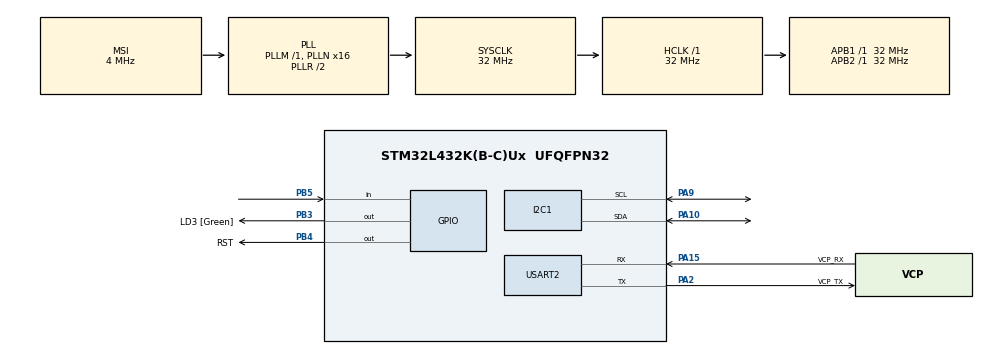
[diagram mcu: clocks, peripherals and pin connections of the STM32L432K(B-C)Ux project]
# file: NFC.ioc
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I2C1.Timing=0x00707CBB
Mcu.Family=STM32L4
Mcu.Name=STM32L432K(B-C)Ux
Mcu.Package=UFQFPN32
NVIC.PriorityGroup=NVIC_PRIORITYGROUP_4
PA0.GPIO_Label=MCO [High speed clock in]
PA0.Mode=HSE-External-Clock-Source-for-LittleOrca
PA0.Signal=RCC_CK_IN
PA10.Mode=I2C
PA10.Signal=I2C1_SDA
PA13\ (JTMS-SWDIO).GPIO_Label=SWDIO
PA13\ (JTMS-SWDIO).Mode=Serial_Wire
PA13\ (JTMS-SWDIO).Signal=SYS_JTMS-SWDIO
PA14\ (JTCK-SWCLK).GPIO_Label=SWCLK
PA14\ (JTCK-SWCLK).Mode=Serial_Wire
PA14\ (JTCK-SWCLK).Signal=SYS_JTCK-SWCLK
PA15\ (JTDI).GPIO_Label=VCP_RX
PA15\ (JTDI).Mode=Asynchronous
PA15\ (JTDI).Signal=USART2_RX
PA2.GPIO_Label=VCP_TX
PA2.Mode=Asynchronous
PA2.Signal=USART2_TX
PA9.Mode=I2C
PA9.Signal=I2C1_SCL
PB3\ (JTDO-TRACESWO).GPIO_Label=LD3 [Green]
PB3\ (JTDO-TRACESWO).Signal=GPIO_Output
PB4\ (NJTRST).GPIO_Label=RST
PB4\ (NJTRST).Signal=GPIO_Output
PB5.Signal=GPIO_Input
PC14-OSC32_IN\ (PC14).Mode=LSE-External-Oscillator
PC14-OSC32_IN\ (PC14).Signal=RCC_OSC32_IN
PC15-OSC32_OUT\ (PC15).Mode=LSE-External-Oscillator
PC15-OSC32_OUT\ (PC15).Signal=RCC_OSC32_OUT
ProjectManager.HeapSize=0x200
ProjectManager.StackSize=0x400
ProjectManager.TargetToolchain=STM32CubeIDE
RCC.AHBFreq_Value=32000000
RCC.APB1Freq_Value=32000000
RCC.APB1TimFreq_Value=32000000
RCC.APB2Freq_Value=32000000
RCC.APB2TimFreq_Value=32000000
RCC.CortexFreq_Value=32000000
RCC.HCLKFreq_Value=32000000
RCC.HSE_VALUE=8000000
RCC.HSI16_VALUE=16000000
RCC.HSI48_VALUE=48000000
RCC.HSI_VALUE=16000000
RCC.MSI_VALUE=4000000
RCC.PLLMUL=RCC_PLLMUL_4
RCC.PLLN=16
RCC.SYSCLKFreq_VALUE=32000000
RCC.SYSCLKSource=RCC_SYSCLKSOURCE_PLLCLK
RCC.VCOOutputFreq_Value=64000000
USART2.VirtualMode-Asynchronous=VM_ASYNC
board=NUCLEO-L432KC

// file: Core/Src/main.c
/* USER CODE BEGIN Header */
/**
  ******************************************************************************
  * @file           : main.c
  * @brief          : Main program body
  ******************************************************************************
  * @attention
  *
  * Copyright (c) 2023 STMicroelectronics.
  * All rights reserved.
  *
  * This software is licensed under terms that can be found in the LICENSE file
  * in the root directory of this software component.
  * If no LICENSE file comes with this software, it is provided AS-IS.
  *
  ******************************************************************************
  */
/* USER CODE END Header */
#include "main.h"
#include "stdbool.h"

I2C_HandleTypeDef hi2c1;

UART_HandleTypeDef huart2;

void SystemClock_Config(void);
static void MX_GPIO_Init(void);
static void MX_USART2_UART_Init(void);
static void MX_I2C1_Init(void);

int main(void)
{

  /* MCU Configuration--------------------------------------------------------*/

  /* Reset of all peripherals, Initializes the Flash interface and the Systick. */
  HAL_Init();

  /* Configure the system clock */
  SystemClock_Config();

  /* Initialize all configured peripherals */
  MX_GPIO_Init();
  MX_USART2_UART_Init();
  MX_I2C1_Init();
  /* USER CODE BEGIN 2 */
  HAL_GPIO_TogglePin(GPIOB,GPIO_PIN_4);   // RST

  // 0x2F: Command Message, komplett Message, GID = 1111b
  // 0x02 = OID
  uint8_t CORE_RESET_CMD[] = {0x20, 0x00, 0x01, 0x00};
  HAL_I2C_Master_Transmit(&hi2c1, (0x28<<1), CORE_RESET_CMD , sizeof(CORE_RESET_CMD), HAL_MAX_DELAY);
  HAL_Delay(500); // Delay for 500 milisecond between readings

  // Read data from NFC Click via I2C
  uint8_t dataBufferREST[32]; // Buffer to store the received data
  if(HAL_GPIO_ReadPin( GPIOB, GPIO_PIN_5) == GPIO_PIN_SET)
  {
    HAL_I2C_Master_Receive(&hi2c1, (0x28 << 1), dataBufferREST, sizeof(dataBufferREST), HAL_MAX_DELAY);
    // Print the received data to the serial monitor
    for(int i = 0; i < sizeof(dataBufferREST); i++)
    {
      char uartBuffer[8];  // Buffer to store the converted data

      // Convert the data to ASCII and print it
      sprintf(uartBuffer, "%02X ", dataBufferREST[i]);
      HAL_UART_Transmit(&huart2, (uint8_t*) uartBuffer, strlen(uartBuffer), HAL_MAX_DELAY);
    }
    HAL_UART_Transmit(&huart2, (uint8_t*) "\r\n", 2, HAL_MAX_DELAY);  // Print a new line

    // Check if the received data matches "SET LED"
    if (memcmp(dataBufferREST, "SET LED", 7) == 0)
    {
      // Turn on the default LED on Nucleo L432KC (Pin LD2)
      HAL_GPIO_WritePin(GPIOB, GPIO_PIN_3, GPIO_PIN_SET);
    }
  }

  uint8_t CORE_INIT_CMD[] = {0x20, 0x01, 0x00};
  HAL_I2C_Master_Transmit(&hi2c1, (0x28<<1), CORE_INIT_CMD , sizeof(CORE_INIT_CMD), HAL_MAX_DELAY);
  HAL_Delay(500); // Delay for 500 milisecond between readings
  if(HAL_GPIO_ReadPin( GPIOB, GPIO_PIN_5) == GPIO_PIN_SET)
  {
    // Read data from NFC Click via I2C
    uint8_t dataBufferINT[32]; // Buffer to store the received data
    HAL_I2C_Master_Receive(&hi2c1, (0x28 << 1), dataBufferINT, sizeof(dataBufferINT), HAL_MAX_DELAY);
    // Print the received data to the serial monitor
    for(int i = 0; i < sizeof(dataBufferINT); i++)
    {
      char uartBuffer[8];  // Buffer to store the converted data

      // Convert the data to ASCII and print it
      sprintf(uartBuffer, "%02X ", dataBufferINT[i]);
      HAL_UART_Transmit(&huart2, (uint8_t*) uartBuffer, strlen(uartBuffer), HAL_MAX_DELAY);
    }
    HAL_UART_Transmit(&huart2, (uint8_t*) "\r\n", 2, HAL_MAX_DELAY);  // Print a new line
  }
  /* USER CODE END 2 */

  /* Infinite loop */
  /* USER CODE BEGIN WHILE */
  while (1)
  {
    /* USER CODE BEGIN 3 */
    /* USER CODE END WHILE */

    /* USER CODE BEGIN 3 */
    HAL_StatusTypeDef ret;
    GPIO_PinState a = HAL_GPIO_ReadPin( GPIOB, GPIO_PIN_5) ;
    if (a == GPIO_PIN_SET ){
      HAL_UART_Transmit(&huart2, "SET\r\n", sizeof("SET\r\n"), HAL_MAX_DELAY);
    }else{
      HAL_UART_Transmit(&huart2, "UNSET\r\n", sizeof("UNSET\r\n"), HAL_MAX_DELAY);
    }
    HAL_Delay(501);
    if(HAL_I2C_IsDeviceReady(&hi2c1, (0x28<<1), 2, 100) == HAL_OK)
    {
        HAL_GPIO_WritePin( GPIOB, GPIO_PIN_3,  GPIO_PIN_SET);  //Set LED

        uint8_t stat[] = "Device is Ready, and LED  is ON\r\n";
        HAL_UART_Transmit(&huart2, stat, sizeof(stat), HAL_MAX_DELAY);

        if (ret == HAL_OK)
        {
            uint8_t stat[] = "Transmit to NFC is Ok\r\n";
            HAL_UART_Transmit(&huart2, stat, sizeof(stat), HAL_MAX_DELAY);

        //    uint8_t dataBuffer[32] = {0x4F, 0x02, 0x05};
         //   HAL_I2C_Master_Transmit(&hi2c1, (0x29<<1), dataBuffer, sizeof(dataBuffer), HAL_MAX_DELAY);

            if(HAL_GPIO_ReadPin( GPIOB, GPIO_PIN_5) == GPIO_PIN_SET)
            {
                uint8_t stat[] = "INT/IQR is triggered \r\n";
                HAL_UART_Transmit(&huart2, stat, sizeof(stat), HAL_MAX_DELAY);

                // Read data from NFC Click via I2C
                uint8_t dataBufferRes[32]; // Buffer to store the received data

                HAL_I2C_Master_Receive(&hi2c1, (0x29<<1), dataBufferRes, sizeof(dataBufferRes), HAL_MAX_DELAY);
                // Print the received data to the serial monitor
                for (int i = 0; i < sizeof(dataBufferRes); i++)
                {
                    char uartBuffer[8];  // Buffer to store the converted data

                    // Convert the data to ASCII and print it
                    sprintf(uartBuffer, "%02X ", dataBufferRes[i]);
                    HAL_UART_Transmit(&huart2, (uint8_t*)uartBuffer, strlen(uartBuffer), HAL_MAX_DELAY);
                 }
                 HAL_UART_Transmit(&huart2, (uint8_t*)"\r\n", 2, HAL_MAX_DELAY);  // Print a new line
          }
        }
        else
        {
            HAL_GPIO_WritePin( GPIOB, GPIO_PIN_3,  GPIO_PIN_RESET);
            uint8_t stat[] = "Transmit is not OK, and LED is off\r\n";
            HAL_UART_Transmit(&huart2, stat, sizeof(stat), HAL_MAX_DELAY);
        }
    }
    else
    {
        HAL_GPIO_WritePin( GPIOB, GPIO_PIN_3,  GPIO_PIN_RESET);
        uint8_t stat[] = "Device is not Ready, and LED is Off\r\n";
        HAL_UART_Transmit(&huart2, stat, sizeof(stat), HAL_MAX_DELAY);
        HAL_Delay(500);  // Delay for 1 second between readings
    }

    /* USER CODE BEGIN 3 */

    /* USER CODE END WHILE */

  }
  /* USER CODE END 3 */
}

void SystemClock_Config(void)
{
  RCC_OscInitTypeDef RCC_OscInitStruct = {0};
  RCC_ClkInitTypeDef RCC_ClkInitStruct = {0};

  /** Configure the main internal regulator output voltage
  */
  if (HAL_PWREx_ControlVoltageScaling(PWR_REGULATOR_VOLTAGE_SCALE1) != HAL_OK)
  {
    Error_Handler();
  }

  /** Configure LSE Drive Capability
  */
  HAL_PWR_EnableBkUpAccess();
  __HAL_RCC_LSEDRIVE_CONFIG(RCC_LSEDRIVE_LOW);

  /** Initializes the RCC Oscillators according to the specified parameters
  * in the RCC_OscInitTypeDef structure.
  */
  RCC_OscInitStruct.OscillatorType = RCC_OSCILLATORTYPE_LSE|RCC_OSCILLATORTYPE_MSI;
  RCC_OscInitStruct.LSEState = RCC_LSE_ON;
  RCC_OscInitStruct.MSIState = RCC_MSI_ON;
  RCC_OscInitStruct.MSICalibrationValue = 0;
  RCC_OscInitStruct.MSIClockRange = RCC_MSIRANGE_6;
  RCC_OscInitStruct.PLL.PLLState = RCC_PLL_ON;
  RCC_OscInitStruct.PLL.PLLSource = RCC_PLLSOURCE_MSI;
  RCC_OscInitStruct.PLL.PLLM = 1;
  RCC_OscInitStruct.PLL.PLLN = 16;
  RCC_OscInitStruct.PLL.PLLP = RCC_PLLP_DIV7;
  RCC_OscInitStruct.PLL.PLLQ = RCC_PLLQ_DIV2;
  RCC_OscInitStruct.PLL.PLLR = RCC_PLLR_DIV2;
  if (HAL_RCC_OscConfig(&RCC_OscInitStruct) != HAL_OK)
  {
    Error_Handler();
  }

  /** Initializes the CPU, AHB and APB buses clocks
  */
  RCC_ClkInitStruct.ClockType = RCC_CLOCKTYPE_HCLK|RCC_CLOCKTYPE_SYSCLK
                              |RCC_CLOCKTYPE_PCLK1|RCC_CLOCKTYPE_PCLK2;
  RCC_ClkInitStruct.SYSCLKSource = RCC_SYSCLKSOURCE_PLLCLK;
  RCC_ClkInitStruct.AHBCLKDivider = RCC_SYSCLK_DIV1;
  RCC_ClkInitStruct.APB1CLKDivider = RCC_HCLK_DIV1;
  RCC_ClkInitStruct.APB2CLKDivider = RCC_HCLK_DIV1;

  if (HAL_RCC_ClockConfig(&RCC_ClkInitStruct, FLASH_LATENCY_1) != HAL_OK)
  {
    Error_Handler();
  }

  /** Enable MSI Auto calibration
  */
  HAL_RCCEx_EnableMSIPLLMode();
}

static void MX_I2C1_Init(void)
{

  hi2c1.Instance = I2C1;
  hi2c1.Init.Timing = 0x00707CBB;
  hi2c1.Init.OwnAddress1 = 0;
  hi2c1.Init.AddressingMode = I2C_ADDRESSINGMODE_7BIT;
  hi2c1.Init.DualAddressMode = I2C_DUALADDRESS_DISABLE;
  hi2c1.Init.OwnAddress2 = 0;
  hi2c1.Init.OwnAddress2Masks = I2C_OA2_NOMASK;
  hi2c1.Init.GeneralCallMode = I2C_GENERALCALL_DISABLE;
  hi2c1.Init.NoStretchMode = I2C_NOSTRETCH_DISABLE;
  if (HAL_I2C_Init(&hi2c1) != HAL_OK)
  {
    Error_Handler();
  }

  /** Configure Analogue filter
  */
  if (HAL_I2CEx_ConfigAnalogFilter(&hi2c1, I2C_ANALOGFILTER_ENABLE) != HAL_OK)
  {
    Error_Handler();
  }

  /** Configure Digital filter
  */
  if (HAL_I2CEx_ConfigDigitalFilter(&hi2c1, 0) != HAL_OK)
  {
    Error_Handler();
  }

}

static void MX_USART2_UART_Init(void)
{

  huart2.Instance = USART2;
  huart2.Init.BaudRate = 115200;
  huart2.Init.WordLength = UART_WORDLENGTH_8B;
  huart2.Init.StopBits = UART_STOPBITS_1;
  huart2.Init.Parity = UART_PARITY_NONE;
  huart2.Init.Mode = UART_MODE_TX_RX;
  huart2.Init.HwFlowCtl = UART_HWCONTROL_NONE;
  huart2.Init.OverSampling = UART_OVERSAMPLING_16;
  huart2.Init.OneBitSampling = UART_ONE_BIT_SAMPLE_DISABLE;
  huart2.AdvancedInit.AdvFeatureInit = UART_ADVFEATURE_NO_INIT;
  if (HAL_UART_Init(&huart2) != HAL_OK)
  {
    Error_Handler();
  }

}

static void MX_GPIO_Init(void)
{
  GPIO_InitTypeDef GPIO_InitStruct = {0};

  /* GPIO Ports Clock Enable */
  __HAL_RCC_GPIOC_CLK_ENABLE();
  __HAL_RCC_GPIOA_CLK_ENABLE();
  __HAL_RCC_GPIOB_CLK_ENABLE();

  /*Configure GPIO pin Output Level */
  HAL_GPIO_WritePin(GPIOB, LD3_Pin|RST_Pin, GPIO_PIN_RESET);

  /*Configure GPIO pins : LD3_Pin RST_Pin */
  GPIO_InitStruct.Pin = LD3_Pin|RST_Pin;
  GPIO_InitStruct.Mode = GPIO_MODE_OUTPUT_PP;
  GPIO_InitStruct.Pull = GPIO_NOPULL;
  GPIO_InitStruct.Speed = GPIO_SPEED_FREQ_LOW;
  HAL_GPIO_Init(GPIOB, &GPIO_InitStruct);

  /*Configure GPIO pin : PB5 */
  GPIO_InitStruct.Pin = GPIO_PIN_5;
  GPIO_InitStruct.Mode = GPIO_MODE_INPUT;
  GPIO_InitStruct.Pull = GPIO_NOPULL;
  HAL_GPIO_Init(GPIOB, &GPIO_InitStruct);

}

void Error_Handler(void)
{
  __disable_irq();
  while (1)
  {
  }
}
